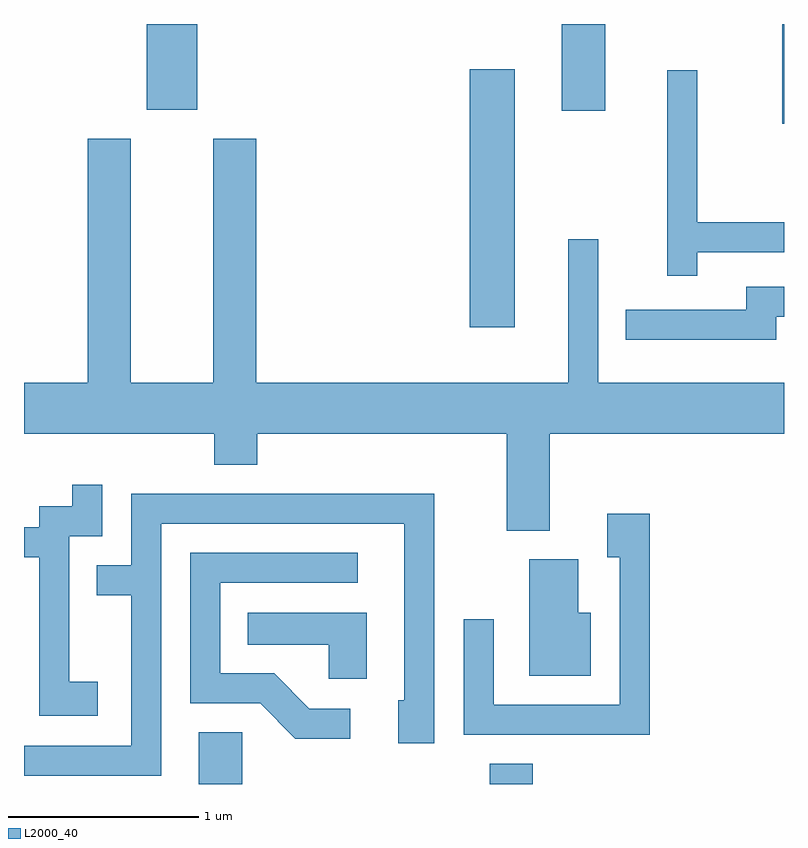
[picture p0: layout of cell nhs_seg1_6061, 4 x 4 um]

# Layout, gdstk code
import gdstk
lib = gdstk.Library(unit=1e-6, precision=1e-09)
def R(c, l, rs):  # rectangles x0, y0, x1, y1
    for r in rs: c.add(gdstk.rectangle(r[:2], r[2:], *l))
def P(c, l, *ps):  # polygons
    for p in ps: c.add(gdstk.Polygon(p, *l))
L2000_40 = (2000, 40)

nhs_seg1_6061 = lib.new_cell('nhs_seg1_6061')
R(nhs_seg1_6061, L2000_40, [(368.531,917.712,368.759,917.984), (370.061,917.712,370.289,917.819), (369.956,920.116,370.194,921.474), (371.601,921.186,371.611,921.712), (370.441,921.256,370.669,921.712), (368.256,921.261,368.524,921.712)])
P(nhs_seg1_6061, L2000_40, [(371.154,920.511),(371.611,920.511),(371.611,920.669),(371.154,920.669),(371.154,921.468),(370.996,921.468),(370.996,920.388),(371.154,920.388)],
  [(368.834,921.109),(368.606,921.109),(368.606,919.824),(368.174,919.824),(368.174,921.109),(367.946,921.109),(367.946,919.824),(367.611,919.824),(367.611,919.556),(368.611,919.556),(368.611,919.391),(368.839,919.391),(368.839,919.556),(370.151,919.556),(370.151,919.046),(370.379,919.046),(370.379,919.556),(371.611,919.556),(371.611,919.824),(370.634,919.824),(370.634,920.578),(370.476,920.578),(370.476,919.824),(368.834,919.824)],
  [(371.569,920.171),(371.611,920.171),(371.611,920.329),(371.411,920.329),(371.411,920.209),(370.778,920.209),(370.778,920.051),(371.569,920.051)],
  [(367.999,918.249),(367.849,918.249),(367.849,919.016),(368.024,919.016),(368.024,919.288),(367.866,919.288),(367.866,919.174),(367.691,919.174),(367.691,919.064),(367.611,919.064),(367.611,918.906),(367.691,918.906),(367.691,918.071),(367.999,918.071)],
  [(368.334,919.081),(369.611,919.081),(369.611,918.154),(369.581,918.154),(369.581,917.926),(369.769,917.926),(369.769,919.239),(368.176,919.239),(368.176,918.864),(367.993,918.864),(367.993,918.706),(368.176,918.706),(368.176,917.914),(367.611,917.914),(367.611,917.756),(368.334,917.756)],
  [(370.904,919.134),(370.681,919.134),(370.681,918.906),(370.746,918.906),(370.746,918.129),(370.084,918.129),(370.084,918.578),(369.926,918.578),(369.926,917.971),(370.904,917.971)],
  [(369.328,918.109),(369.112,918.109),(368.927,918.294),(368.644,918.294),(368.644,918.771),(369.368,918.771),(369.368,918.929),(368.486,918.929),(368.486,918.136),(368.854,918.136),(369.039,917.951),(369.328,917.951)],
  [(370.594,918.614),(370.529,918.614),(370.529,918.894),(370.271,918.894),(370.271,918.281),(370.594,918.281)],
  [(369.414,918.614),(368.788,918.614),(368.788,918.446),(369.216,918.446),(369.216,918.266),(369.414,918.266)])

lib.write_gds('nhs_seg1_6061.gds')
